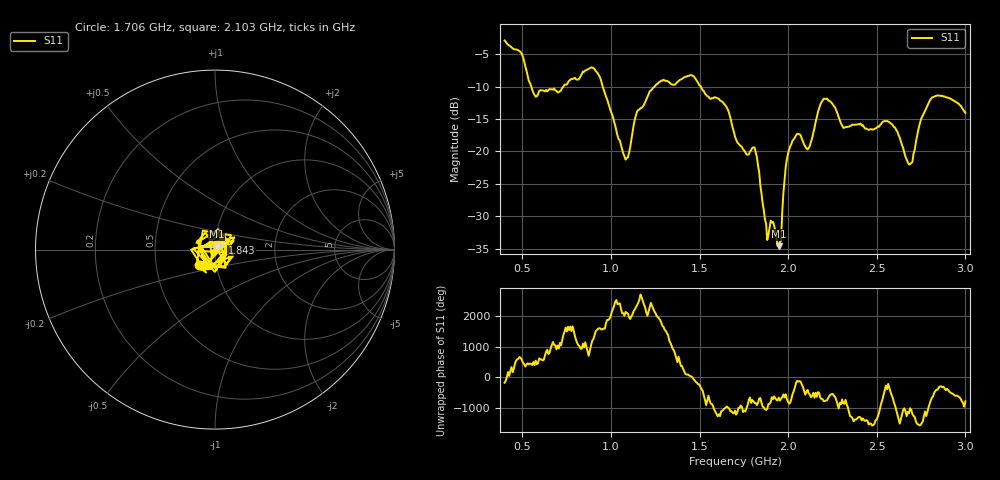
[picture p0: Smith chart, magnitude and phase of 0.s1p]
!Created with skrf (http://scikit-rf.org).
# Hz S RI R 50.0
!freq ReS11 ImS11
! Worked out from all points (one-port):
!   401 points, 400 MHz to 3 GHz, reference 50 ohm
!   lowest |S11| = -34.6 dB at 1.947 GHz (marker M1), VSWR 1.04, Z = 50.9 + j1.62 ohm
!   |S11| at or under -10 dB: 550.8 MHz to 730.3 MHz (179.5 MHz wide, 28 % of centre); 953.9 MHz to 1.246 GHz (291.6 MHz wide, 26.5 % of centre); 1.508 GHz to end of sweep
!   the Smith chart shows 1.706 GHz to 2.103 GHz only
!   S11 on the Smith chart (normalised r, x): 1.706 GHz: 0.82, -0.14; 1.843 GHz: 1.08, +0.08; 2.103 GHz: 0.89, -0.17
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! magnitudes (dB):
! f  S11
! 400 MHz  -2.8
! 491 MHz  -4.7
! 569 MHz  -11.3
! 725 MHz  -10.2
! 907 MHz  -7.2
! 1.05 GHz  -18.3
! 1.089 GHz  -21.0
! 1.147 GHz  -13.8
! 1.226 GHz  -10.6
! 1.375 GHz  -9.3
! 1.46 GHz  -8.3
! 1.622 GHz  -12.2
! 1.7 GHz  -17.7
! 1.706 GHz  -18.2
! 1.81 GHz  -19.4
! 1.843 GHz  -25.2
! 1.875 GHz  -31.2
! 1.915 GHz  -30.9
! 1.947 GHz  -34.6
! 1.992 GHz  -21.3
! 2.025 GHz  -18.3
! 2.103 GHz  -19.5
! 2.207 GHz  -11.9
! 2.35 GHz  -16.0
! 2.571 GHz  -15.5
! 2.675 GHz  -21.7
! 2.812 GHz  -11.7
! 3 GHz  -14.0
